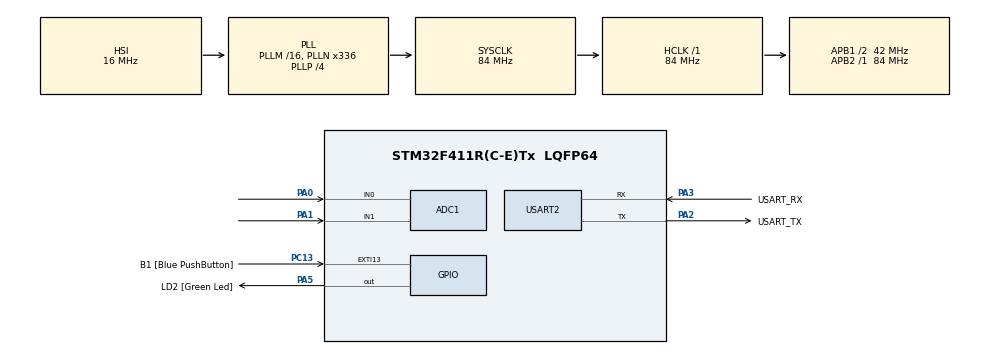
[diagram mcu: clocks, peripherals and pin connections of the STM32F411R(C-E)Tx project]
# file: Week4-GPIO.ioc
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ADC1.Channel-0\#ChannelRegularConversion=ADC_CHANNEL_0
ADC1.Channel-1\#ChannelRegularConversion=ADC_CHANNEL_1
ADC1.Channel-2\#ChannelRegularConversion=ADC_CHANNEL_TEMPSENSOR
ADC1.Channel-3\#ChannelRegularConversion=ADC_CHANNEL_VREFINT
ADC1.ContinuousConvMode=ENABLE
ADC1.DMAContinuousRequests=ENABLE
ADC1.NbrOfConversion=4
ADC1.NbrOfConversionFlag=1
ADC1.Rank-0\#ChannelRegularConversion=1
ADC1.Rank-1\#ChannelRegularConversion=2
ADC1.Rank-2\#ChannelRegularConversion=3
ADC1.Rank-3\#ChannelRegularConversion=4
ADC1.SamplingTime-0\#ChannelRegularConversion=ADC_SAMPLETIME_480CYCLES
ADC1.SamplingTime-1\#ChannelRegularConversion=ADC_SAMPLETIME_480CYCLES
ADC1.SamplingTime-2\#ChannelRegularConversion=ADC_SAMPLETIME_480CYCLES
ADC1.SamplingTime-3\#ChannelRegularConversion=ADC_SAMPLETIME_480CYCLES
ADC1.ScanConvMode=ENABLE
ADC1.master=1
Dma.ADC1.0.Direction=DMA_PERIPH_TO_MEMORY
Dma.ADC1.0.FIFOMode=DMA_FIFOMODE_DISABLE
Dma.ADC1.0.Instance=DMA2_Stream0
Dma.ADC1.0.MemDataAlignment=DMA_MDATAALIGN_WORD
Dma.ADC1.0.MemInc=DMA_MINC_ENABLE
Dma.ADC1.0.Mode=DMA_CIRCULAR
Dma.ADC1.0.PeriphDataAlignment=DMA_PDATAALIGN_WORD
Dma.ADC1.0.PeriphInc=DMA_PINC_DISABLE
Dma.ADC1.0.Priority=DMA_PRIORITY_LOW
Dma.Request0=ADC1
Mcu.Family=STM32F4
Mcu.Name=STM32F411R(C-E)Tx
Mcu.Package=LQFP64
NVIC.DMA2_Stream0_IRQn=true\:0\:0\:false\:false\:true\:false\:true
NVIC.EXTI15_10_IRQn=true\:0\:0\:false\:false\:true\:true\:true
NVIC.PriorityGroup=NVIC_PRIORITYGROUP_0
PA0-WKUP.Signal=ADCx_IN0
PA1.Signal=ADCx_IN1
PA13.GPIO_Label=TMS
PA13.Mode=Serial_Wire
PA13.Signal=SYS_JTMS-SWDIO
PA14.GPIO_Label=TCK
PA14.Mode=Serial_Wire
PA14.Signal=SYS_JTCK-SWCLK
PA2.GPIO_Label=USART_TX
PA2.Mode=Asynchronous
PA2.Signal=USART2_TX
PA3.GPIO_Label=USART_RX
PA3.Mode=Asynchronous
PA3.Signal=USART2_RX
PA5.GPIO_Label=LD2 [Green Led]
PA5.GPIO_PuPd=GPIO_PULLDOWN
PA5.Signal=GPIO_Output
PB3.GPIO_Label=SWO
PB3.Signal=SYS_JTDO-SWO
PC13-ANTI_TAMP.GPIO_Label=B1 [Blue PushButton]
PC13-ANTI_TAMP.GPIO_ModeDefaultEXTI=GPIO_MODE_IT_RISING_FALLING
PC13-ANTI_TAMP.GPIO_PuPd=GPIO_PULLUP
PC13-ANTI_TAMP.Signal=GPXTI13
PC14-OSC32_IN.Mode=LSE-External-Oscillator
PC14-OSC32_IN.Signal=RCC_OSC32_IN
PC15-OSC32_OUT.Mode=LSE-External-Oscillator
PC15-OSC32_OUT.Signal=RCC_OSC32_OUT
PH0\ -\ OSC_IN.Mode=HSE-External-Clock-Source
PH0\ -\ OSC_IN.Signal=RCC_OSC_IN
PH1\ -\ OSC_OUT.Mode=HSE-External-Clock-Source
PH1\ -\ OSC_OUT.Signal=RCC_OSC_OUT
ProjectManager.HeapSize=0x200
ProjectManager.StackSize=0x400
ProjectManager.TargetToolchain=STM32CubeIDE
RCC.48MHZClocksFreq_Value=84000000
RCC.AHBFreq_Value=84000000
RCC.APB1CLKDivider=RCC_HCLK_DIV2
RCC.APB1Freq_Value=42000000
RCC.APB1TimFreq_Value=84000000
RCC.APB2Freq_Value=84000000
RCC.APB2TimFreq_Value=84000000
RCC.CortexFreq_Value=84000000
RCC.FLatency-AdvancedSettings=FLASH_LATENCY_2
RCC.HCLKFreq_Value=84000000
RCC.HSE_VALUE=8000000
RCC.HSI_VALUE=16000000
RCC.PLLN=336
RCC.PLLP=RCC_PLLP_DIV4
RCC.SYSCLKFreq_VALUE=84000000
RCC.SYSCLKSource=RCC_SYSCLKSOURCE_PLLCLK
RCC.VCOOutputFreq_Value=336000000
SH.ADCx_IN0.0=ADC1_IN0,IN0
SH.ADCx_IN1.0=ADC1_IN1,IN1
USART2.VirtualMode=VM_ASYNC
VP_ADC1_TempSens_Input.Mode=IN-TempSens
VP_ADC1_Vref_Input.Mode=IN-Vrefint
board=NUCLEO-F411RE

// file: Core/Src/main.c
/* USER CODE BEGIN Header */
/**
  ******************************************************************************
  * @file           : main.c
  * @brief          : Main program body
  ******************************************************************************
  * @attention
  *
  * <h2><center>&copy; Copyright (c) 2021 STMicroelectronics.
  * All rights reserved.</center></h2>
  *
  * This software component is licensed by ST under BSD 3-Clause license,
  * the "License"; You may not use this file except in compliance with the
  * License. You may obtain a copy of the License at:
  *                        opensource.org/licenses/BSD-3-Clause
  *
  ******************************************************************************
  */
/* USER CODE END Header */
#include "main.h"

ADC_HandleTypeDef hadc1;
DMA_HandleTypeDef hdma_adc1;

UART_HandleTypeDef huart2;

/* USER CODE BEGIN PV */
uint32_t ADCData[4] = {0};
uint32_t time_countdown = 0;
uint32_t time_count = 0;
uint8_t state = 0;
uint32_t response = 0;
/* USER CODE END PV */

void SystemClock_Config(void);
static void MX_GPIO_Init(void);
static void MX_DMA_Init(void);
static void MX_USART2_UART_Init(void);
static void MX_ADC1_Init(void);

int main(void)
{

  /* MCU Configuration--------------------------------------------------------*/

  /* Reset of all peripherals, Initializes the Flash interface and the Systick. */
  HAL_Init();

  /* Configure the system clock */
  SystemClock_Config();

  /* Initialize all configured peripherals */
  MX_GPIO_Init();
  MX_DMA_Init();
  MX_USART2_UART_Init();
  MX_ADC1_Init();
  /* USER CODE BEGIN 2 */
  HAL_ADC_Start_DMA(&hadc1, ADCData, 4);

  /* USER CODE END 2 */

  /* Infinite loop */
  /* USER CODE BEGIN WHILE */
  HAL_GPIO_WritePin(GPIOA, GPIO_PIN_5, 1);
  while (1)
  {

    /* USER CODE END WHILE */

    /* USER CODE BEGIN 3 */
	 if (state == 1)
	 {
		 if (HAL_GetTick()-time_count >= time_countdown)
		  {
			HAL_GPIO_WritePin(GPIOA, GPIO_PIN_5, 1);
			state = 2;
			time_count = HAL_GetTick();
		  }
	  }
  }
  /* USER CODE END 3 */
}

void SystemClock_Config(void)
{
  RCC_OscInitTypeDef RCC_OscInitStruct = {0};
  RCC_ClkInitTypeDef RCC_ClkInitStruct = {0};

  /** Configure the main internal regulator output voltage
  */
  __HAL_RCC_PWR_CLK_ENABLE();
  __HAL_PWR_VOLTAGESCALING_CONFIG(PWR_REGULATOR_VOLTAGE_SCALE1);
  /** Initializes the RCC Oscillators according to the specified parameters
  * in the RCC_OscInitTypeDef structure.
  */
  RCC_OscInitStruct.OscillatorType = RCC_OSCILLATORTYPE_HSI;
  RCC_OscInitStruct.HSIState = RCC_HSI_ON;
  RCC_OscInitStruct.HSICalibrationValue = RCC_HSICALIBRATION_DEFAULT;
  RCC_OscInitStruct.PLL.PLLState = RCC_PLL_ON;
  RCC_OscInitStruct.PLL.PLLSource = RCC_PLLSOURCE_HSI;
  RCC_OscInitStruct.PLL.PLLM = 16;
  RCC_OscInitStruct.PLL.PLLN = 336;
  RCC_OscInitStruct.PLL.PLLP = RCC_PLLP_DIV4;
  RCC_OscInitStruct.PLL.PLLQ = 4;
  if (HAL_RCC_OscConfig(&RCC_OscInitStruct) != HAL_OK)
  {
    Error_Handler();
  }
  /** Initializes the CPU, AHB and APB buses clocks
  */
  RCC_ClkInitStruct.ClockType = RCC_CLOCKTYPE_HCLK|RCC_CLOCKTYPE_SYSCLK
                              |RCC_CLOCKTYPE_PCLK1|RCC_CLOCKTYPE_PCLK2;
  RCC_ClkInitStruct.SYSCLKSource = RCC_SYSCLKSOURCE_PLLCLK;
  RCC_ClkInitStruct.AHBCLKDivider = RCC_SYSCLK_DIV1;
  RCC_ClkInitStruct.APB1CLKDivider = RCC_HCLK_DIV2;
  RCC_ClkInitStruct.APB2CLKDivider = RCC_HCLK_DIV1;

  if (HAL_RCC_ClockConfig(&RCC_ClkInitStruct, FLASH_LATENCY_2) != HAL_OK)
  {
    Error_Handler();
  }
}

static void MX_ADC1_Init(void)
{

  ADC_ChannelConfTypeDef sConfig = {0};

  /** Configure the global features of the ADC (Clock, Resolution, Data Alignment and number of conversion)
  */
  hadc1.Instance = ADC1;
  hadc1.Init.ClockPrescaler = ADC_CLOCK_SYNC_PCLK_DIV4;
  hadc1.Init.Resolution = ADC_RESOLUTION_12B;
  hadc1.Init.ScanConvMode = ENABLE;
  hadc1.Init.ContinuousConvMode = ENABLE;
  hadc1.Init.DiscontinuousConvMode = DISABLE;
  hadc1.Init.ExternalTrigConvEdge = ADC_EXTERNALTRIGCONVEDGE_NONE;
  hadc1.Init.ExternalTrigConv = ADC_SOFTWARE_START;
  hadc1.Init.DataAlign = ADC_DATAALIGN_RIGHT;
  hadc1.Init.NbrOfConversion = 4;
  hadc1.Init.DMAContinuousRequests = ENABLE;
  hadc1.Init.EOCSelection = ADC_EOC_SINGLE_CONV;
  if (HAL_ADC_Init(&hadc1) != HAL_OK)
  {
    Error_Handler();
  }
  /** Configure for the selected ADC regular channel its corresponding rank in the sequencer and its sample time.
  */
  sConfig.Channel = ADC_CHANNEL_0;
  sConfig.Rank = 1;
  sConfig.SamplingTime = ADC_SAMPLETIME_480CYCLES;
  if (HAL_ADC_ConfigChannel(&hadc1, &sConfig) != HAL_OK)
  {
    Error_Handler();
  }
  /** Configure for the selected ADC regular channel its corresponding rank in the sequencer and its sample time.
  */
  sConfig.Channel = ADC_CHANNEL_1;
  sConfig.Rank = 2;
  if (HAL_ADC_ConfigChannel(&hadc1, &sConfig) != HAL_OK)
  {
    Error_Handler();
  }
  /** Configure for the selected ADC regular channel its corresponding rank in the sequencer and its sample time.
  */
  sConfig.Channel = ADC_CHANNEL_TEMPSENSOR;
  sConfig.Rank = 3;
  if (HAL_ADC_ConfigChannel(&hadc1, &sConfig) != HAL_OK)
  {
    Error_Handler();
  }
  /** Configure for the selected ADC regular channel its corresponding rank in the sequencer and its sample time.
  */
  sConfig.Channel = ADC_CHANNEL_VREFINT;
  sConfig.Rank = 4;
  if (HAL_ADC_ConfigChannel(&hadc1, &sConfig) != HAL_OK)
  {
    Error_Handler();
  }

}

static void MX_USART2_UART_Init(void)
{

  huart2.Instance = USART2;
  huart2.Init.BaudRate = 115200;
  huart2.Init.WordLength = UART_WORDLENGTH_8B;
  huart2.Init.StopBits = UART_STOPBITS_1;
  huart2.Init.Parity = UART_PARITY_NONE;
  huart2.Init.Mode = UART_MODE_TX_RX;
  huart2.Init.HwFlowCtl = UART_HWCONTROL_NONE;
  huart2.Init.OverSampling = UART_OVERSAMPLING_16;
  if (HAL_UART_Init(&huart2) != HAL_OK)
  {
    Error_Handler();
  }

}

static void MX_DMA_Init(void)
{

  /* DMA controller clock enable */
  __HAL_RCC_DMA2_CLK_ENABLE();

  /* DMA interrupt init */
  /* DMA2_Stream0_IRQn interrupt configuration */
  HAL_NVIC_SetPriority(DMA2_Stream0_IRQn, 0, 0);
  HAL_NVIC_EnableIRQ(DMA2_Stream0_IRQn);

}

static void MX_GPIO_Init(void)
{
  GPIO_InitTypeDef GPIO_InitStruct = {0};

  /* GPIO Ports Clock Enable */
  __HAL_RCC_GPIOC_CLK_ENABLE();
  __HAL_RCC_GPIOH_CLK_ENABLE();
  __HAL_RCC_GPIOA_CLK_ENABLE();
  __HAL_RCC_GPIOB_CLK_ENABLE();

  /*Configure GPIO pin Output Level */
  HAL_GPIO_WritePin(LD2_GPIO_Port, LD2_Pin, GPIO_PIN_RESET);

  /*Configure GPIO pin : B1_Pin */
  GPIO_InitStruct.Pin = B1_Pin;
  GPIO_InitStruct.Mode = GPIO_MODE_IT_RISING_FALLING;
  GPIO_InitStruct.Pull = GPIO_PULLUP;
  HAL_GPIO_Init(B1_GPIO_Port, &GPIO_InitStruct);

  /*Configure GPIO pin : LD2_Pin */
  GPIO_InitStruct.Pin = LD2_Pin;
  GPIO_InitStruct.Mode = GPIO_MODE_OUTPUT_PP;
  GPIO_InitStruct.Pull = GPIO_PULLDOWN;
  GPIO_InitStruct.Speed = GPIO_SPEED_FREQ_LOW;
  HAL_GPIO_Init(LD2_GPIO_Port, &GPIO_InitStruct);

  /* EXTI interrupt init*/
  HAL_NVIC_SetPriority(EXTI15_10_IRQn, 0, 0);
  HAL_NVIC_EnableIRQ(EXTI15_10_IRQn);

}

/* USER CODE BEGIN 4 */

void HAL_GPIO_EXTI_Callback(uint16_t GPIO_Pin)
{
 if(GPIO_Pin == GPIO_PIN_13)
 {
	 if (state == 0)
	 {
		 time_countdown = 1000*((22695477*ADCData[0])+ADCData[1])%10000 ;
		 time_count = HAL_GetTick();
		 HAL_GPIO_WritePin(GPIOA, GPIO_PIN_5, 0);
		 state = 1;
	 }

	 else if (state == 1)
	 {
		 state = 0;
		 HAL_GPIO_WritePin(GPIOA, GPIO_PIN_5, 1);
		 response = 1112;
	 }

	 else if (state == 2)
	 {
		 state = 0;
		 HAL_GPIO_WritePin(GPIOA, GPIO_PIN_5, 1);
		 response = HAL_GetTick() - time_count;
	 }
 }
}

/* USER CODE END 4 */

void Error_Handler(void)
{
  __disable_irq();
  while (1)
  {
  }
}

/************************ (C) COPYRIGHT STMicroelectronics *****END OF FILE****/
